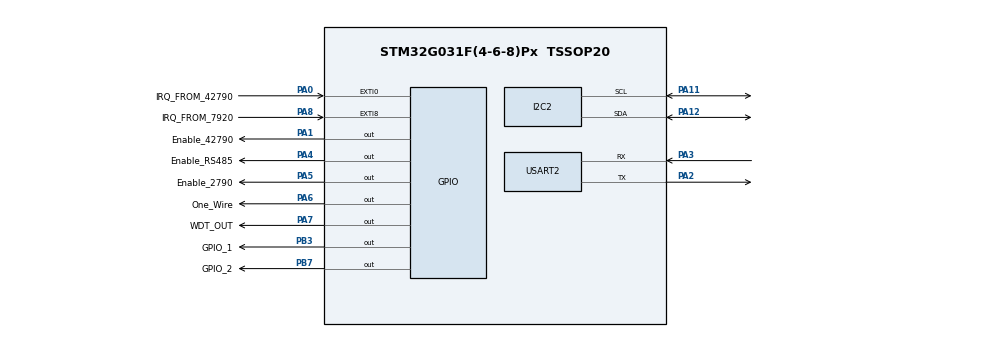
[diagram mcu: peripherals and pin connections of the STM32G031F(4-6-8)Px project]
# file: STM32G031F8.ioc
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I2C2.Timing=0x00201D2B
Mcu.Family=STM32G0
Mcu.Name=STM32G031F(4-6-8)Px
Mcu.Package=TSSOP20
NVIC.EXTI0_1_IRQn=true\:0\:0\:false\:false\:true\:true\:true\:true
NVIC.EXTI4_15_IRQn=true\:0\:0\:false\:false\:true\:true\:true\:true
PA0.GPIO_Label=IRQ_FROM_42790
PA0.Signal=GPXTI0
PA1.GPIO_Label=Enable_42790
PA1.Signal=GPIO_Output
PA11\ [PA9].Mode=I2C
PA11\ [PA9].Signal=I2C2_SCL
PA12\ [PA10].Mode=I2C
PA12\ [PA10].Signal=I2C2_SDA
PA13.Mode=Serial_Wire
PA13.Signal=SYS_SWDIO
PA14-BOOT0.Mode=Serial_Wire
PA14-BOOT0.Signal=SYS_SWCLK
PA14-BOOT0__PA15.StandardMode=true
PA2.Mode=Asynchronous
PA2.Signal=USART2_TX
PA3.Mode=Asynchronous
PA3.Signal=USART2_RX
PA4.GPIO_Label=Enable_RS485
PA4.Signal=GPIO_Output
PA5.GPIO_Label=Enable_2790
PA5.Signal=GPIO_Output
PA6.GPIO_Label=One_Wire
PA6.Signal=GPIO_Output
PA7.GPIO_Label=WDT_OUT
PA7.Signal=GPIO_Output
PA8.GPIO_Label=IRQ_FROM_7920
PA8.Signal=GPXTI8
PB0__PB1__PB2__PA8.StandardMode=true
PB3.GPIO_Label=GPIO_1
PB3.Signal=GPIO_Output
PB3__PB4__PB5__PB6.StandardMode=true
PB7.GPIO_Label=GPIO_2
PB7.Signal=GPIO_Output
PB7__PB8.StandardMode=true
PC14-OSC32_IN\ (PC14).Mode=LSE-External-Oscillator
PC14-OSC32_IN\ (PC14).Signal=RCC_OSC32_IN
PC14-OSC32_IN\ (PC14)__PB9.StandardMode=true
PC15-OSC32_OUT\ (PC15).Mode=LSE-External-Oscillator
PC15-OSC32_OUT\ (PC15).Signal=RCC_OSC32_OUT
ProjectManager.HeapSize=0x200
ProjectManager.StackSize=0x400
ProjectManager.TargetToolchain=STM32CubeIDE
RCC.ADCFreq_Value=16000000
RCC.AHBFreq_Value=16000000
RCC.APB1CLKDivider=RCC_HCLK_DIV2
RCC.CortexFreq_Value=16000000
RCC.EXTERNAL_CLOCK_VALUE=12288000
RCC.HCLKFreq_Value=16000000
RCC.HSE_VALUE=8000000
RCC.HSI_VALUE=16000000
RCC.SYSCLKFreq_VALUE=16000000
RCC.VCOOutputFreq_Value=128000000
USART2.SwapParam=ADVFEATURE_SWAP_ENABLE
USART2.VirtualMode-Asynchronous=VM_ASYNC
board=custom

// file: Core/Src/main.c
/* USER CODE BEGIN Header */
/**
  ******************************************************************************
  * @file           : main.c
  * @brief          : Main program body
  ******************************************************************************
  * @attention
  *
  * Copyright (c) 2025 STMicroelectronics.
  * All rights reserved.
  *
  * This software is licensed under terms that can be found in the LICENSE file
  * in the root directory of this software component.
  * If no LICENSE file comes with this software, it is provided AS-IS.
  *
  ******************************************************************************
  */
/* USER CODE END Header */
#include "main.h"
#include "i2c.h"
#include "usart.h"
#include "gpio.h"

/* USER CODE BEGIN Includes */
#include <assert.h>
#include <stdio.h>
#include <stdlib.h>
#include <time.h>
char data_from_Desktop[8 * 16];
uint8_t synhroByte[4]; // Если приходит команда ~`~` это запись EEPROM - отправляем такой же ответ и затем получаем данные
/* USER CODE END Includes */

/* USER CODE BEGIN PV */
#define CRC_TABLE_SIZE 256
uint8_t _CRC8Table[CRC_TABLE_SIZE];
uint32_t _poly_width = 8;

/* USER CODE END PV */

void SystemClock_Config(void);

/* USER CODE BEGIN 0 */

void HAL_GPIO_EXTI_Callback(uint16_t GPIO_Pin)
{
  if(GPIO_Pin == IRQ_FROM_7920_EXTI_IRQn)
  {
    printf("\r\n========== xALERT ===========\r\n");
  } else
  {
      printf("\r\nEXTI ERROR\r\n");
  }
}

/* USER CODE END 0 */

int main(void)
{

  /* USER CODE BEGIN 1 */
// CRC   https://www.sunshine2k.de/articles/coding/crc/understanding_crc.html
    SEGGER_RTT_Init();
    SEGGER_RTT_printf(0, "SEGGER RTT Initialized\n");

  /* USER CODE END 1 */

  /* MCU Configuration--------------------------------------------------------*/

  /* Reset of all peripherals, Initializes the Flash interface and the Systick. */
  HAL_Init();

  /* Configure the system clock */
  SystemClock_Config();

  /* Initialize all configured peripherals */
  MX_GPIO_Init();
  MX_USART2_UART_Init();
  MX_I2C2_Init();
  /* USER CODE BEGIN 2 */

//  init_Print_to_RS485();
  init_2790();
  init_42790();

  /* USER CODE END 2 */

  /* Infinite loop */
  /* USER CODE BEGIN WHILE */
#if 0
Пишутся регистры 4000 4001 4002 4100
Для записи групп Fuel Gauge Settings Fuel Gauge Model
(0x1000 - 0x1806) (0x2000 - 0x2043) подать команду CONFIG_MODE_CMD();

#endif
//    simpleTestI2C_EEPROM(0x00);

//    read_2790_REGS();
//    read_42790_REGS();

//    test_write_42790();
uint count = 0;
  while (1)
  {
      read_K_from_EEPROM();
      send_CMD_print();
      HAL_Delay(1000);
      printf("\r\n");
      read_Temp();
      read_U_I();
      get_U_PACK_TOP();

      RST_CMD();
      CONFIG_RST_CMD();
      send_U_from_2790_to_42790();
      send_I_from_2790_to_42790();
      EXE_CMD();
      HAL_Delay(100);
      get_empty_soc_cells();
      get_empty_RTIME();
      get_full_soc_cells();
//      HAL_Delay(5000);
      count = 0;

      printf("\r\nEEPROM read:\r\n\n");
      HAL_GPIO_WritePin(GPIOA, Enable_RS485_Pin, GPIO_PIN_SET);
      for(int i=0; i<16; i++)
      {
          while (HAL_I2C_GetState(&hi2c2) != HAL_I2C_STATE_READY);
          HAL_I2C_Mem_Read(&hi2c2, EEPROM_I2C_ADDRESS, i * 8, I2C_MEMADD_SIZE_8BIT, (uint8_t *)&data_from_Desktop + i * 8, 8, HAL_MAX_DELAY);
          HAL_UART_Transmit(&huart2, (uint8_t *)&data_from_Desktop + i * 8, 8, 0xFFFF);
          HAL_UART_Transmit(&huart2, "\r\n", 2, 0xFFFF);
      }
      HAL_GPIO_WritePin(GPIOA, Enable_RS485_Pin, GPIO_PIN_RESET);

      while (receive_Data_to_EEPROM_from_Desktop() != 1)
      {
          HAL_Delay(1);
          ++count;
          if(count == 500)
          {
              break;
          }
      }
      if(count != 500)
      {
          write_Data_to_EEPROM();
      }

    /* USER CODE END WHILE */

  }
}

void SystemClock_Config(void)
{
  /* HSI configuration and activation */
  LL_RCC_HSI_Enable();
  while(LL_RCC_HSI_IsReady() != 1)
  {
  }

  /* Set AHB prescaler*/
  LL_RCC_SetAHBPrescaler(LL_RCC_SYSCLK_DIV_1);

  /* Sysclk activation on the HSI */
  LL_RCC_SetSysClkSource(LL_RCC_SYS_CLKSOURCE_HSI);
  while(LL_RCC_GetSysClkSource() != LL_RCC_SYS_CLKSOURCE_STATUS_HSI)
  {
  }

  /* Set APB1 prescaler*/
  LL_RCC_SetAPB1Prescaler(LL_RCC_APB1_DIV_2);
  /* Update CMSIS variable (which can be updated also through SystemCoreClockUpdate function) */
  LL_SetSystemCoreClock(16000000);

   /* Update the time base */
  if (HAL_InitTick (TICK_INT_PRIORITY) != HAL_OK)
  {
    Error_Handler();
  }
}

/* USER CODE BEGIN 4 */

const char *bit_rep[16] =
{
    [ 0] = "0000", [ 1] = "0001", [ 2] = "0010", [ 3] = "0011",
    [ 4] = "0100", [ 5] = "0101", [ 6] = "0110", [ 7] = "0111",
    [ 8] = "1000", [ 9] = "1001", [10] = "1010", [11] = "1011",
    [12] = "1100", [13] = "1101", [14] = "1110", [15] = "1111",
};
void print_byte(uint8_t byte)
{
    printf("%s%s", bit_rep[byte >> 4], bit_rep[byte & 0x0F]);
}
void simpleTestI2C_EEPROM(uint16_t addr)
{
// Пишет по 8 байт в адреса кратные 8 Читать может больше
    uint16_t num = 8;
    printf("Simple test I2C_EEPROM ...\r\n");

    uint8_t rd_value[20] = {0};
    uint8_t wr_value[20] = {'1','2','3','4','5','6','7','8'};
//    uint8_t wr_value[20] = {'=','=','=','1','2','=','=','='};

    while (HAL_I2C_GetState(&hi2c2) != HAL_I2C_STATE_READY);
    HAL_I2C_Mem_Read(&hi2c2, EEPROM_I2C_ADDRESS, addr, I2C_MEMADD_SIZE_8BIT, rd_value, num, HAL_MAX_DELAY);
    printf("EEPROM read: %s\r\n",rd_value);

    while (HAL_I2C_GetState(&hi2c2) != HAL_I2C_STATE_READY);
    HAL_I2C_Mem_Write(&hi2c2, EEPROM_I2C_ADDRESS, addr, I2C_MEMADD_SIZE_8BIT, wr_value, num, HAL_MAX_DELAY);
    printf("EEPROM write: %s\r\n", wr_value);

    while (HAL_I2C_GetState(&hi2c2) != HAL_I2C_STATE_READY);
    HAL_I2C_Mem_Read(&hi2c2, EEPROM_I2C_ADDRESS, addr, I2C_MEMADD_SIZE_8BIT, rd_value, num, HAL_MAX_DELAY);
    printf("EEPROM read: %s\r\n",rd_value);
}
uint32_t crc32 (uint16_t Reg_Address, uint8_t len, uint8_t *data)
{
    short i;
    uint32_t crc = 0xFFFFFFFF;
    unsigned char dataTemp[4];
    for (i=-1; i<len; i++)
    {
        if(i==-1)
        {
            dataTemp[0]=len;
            dataTemp[1]=Reg_Address&0x00FF;
            dataTemp[2]=(Reg_Address&0xFF00)>>8;
            dataTemp[3]=0;
        }
        else
        {
            dataTemp[i%4]=data[i];
        }
        if((i%4)==3 || i == len-1 || i == -1)
        {
            for (char j=0; j<4; j++)
            {
                crc ^= dataTemp[3-j] << 24;
                for (char k = 0; k < 8; ++k)
                {
                    if ((crc & 0x80000000) != 0)
                    {
                        crc = (crc << 1) ^ 0x04C11DB7;
                    }
                    else
                    {
                        crc <<= 1;
                    }
                }
            }
            dataTemp[0]=0;
            dataTemp[1]=0;
            dataTemp[2]=0;
            dataTemp[3]=0;
        }
    }
    return crc;
}
void init_crc_calculation()
{
    uint8_t poly = 0x31;
    const uint32_t bits_mask = (1 << _poly_width) - 1;
    const uint32_t top_bit = 1 << (_poly_width - 1);
    uint32_t index;
    for (index = 0; index < CRC_TABLE_SIZE; ++index)
    {
        uint32_t value = index << (_poly_width - 8);
        uint32_t bit_index;
        for (bit_index = 0; bit_index < 8; ++bit_index)
        {
            if (value & top_bit)
            {
                value = (value << 1) ^ poly;
            }
            else
            {
                value = value << 1;
            }
            value &= bits_mask;
        }//END for (bit_index = 0; bit_index < 8; ++bit_index)
        _CRC8Table[index] = value;
    }//END for (index = 0; index < CRC_TABLE_SIZE; ++index)
}
uint8_t crc_calc(uint8_t *data, uint8_t size)
{
    uint8_t init_value = 0xFF;
    uint8_t crc = init_value;
    while (size--)
    {
        crc = _CRC8Table[crc ^ *data++];
    }
    return crc;
}
void generateRandomString(char *str, int length)
{
    const char charset[] = "abcdefghijklmnopqrstuvwxyzABCDEFGHIJKLMNOPQRSTUVWXYZ0123456789";
    int charset_size = strlen(charset);
    if (length <= 0)
    {
        str[0] = '\0'; // Empty string for length 0 or less
        return;
    }
    for (int i = 0; i < length; i++)
    {
        str[i] = charset[rand() % charset_size];
    }
    str[length] = '\0'; // Null-terminate the string
}
void Printf(const char* fmt, ...)
{
    HAL_GPIO_WritePin(GPIOA, Enable_RS485_Pin, GPIO_PIN_SET);
    char buff[512];
    va_list args;
    va_start(args, fmt);
    vsnprintf(buff, sizeof(buff), fmt, args);
    HAL_UART_Transmit(&huart2, (uint8_t*)buff, strlen(buff), HAL_MAX_DELAY );
    va_end(args);
    HAL_GPIO_WritePin(GPIOA, Enable_RS485_Pin, GPIO_PIN_RESET);
}
int _write(int fd, char *str, int len)
{
    HAL_GPIO_WritePin(GPIOA, Enable_RS485_Pin, GPIO_PIN_SET);
    for(int i=0; i<len; i++)
    {
        HAL_UART_Transmit(&huart2, (uint8_t *)&str[i], 1, 0xFFFF);
        SEGGER_RTT_PutChar(0, str[i]);
    }
    HAL_GPIO_WritePin(GPIOA, Enable_RS485_Pin, GPIO_PIN_RESET);
    return len;
}

void init_Print_to_RS485()
{
    HAL_GPIO_WritePin(GPIOA, Enable_RS485_Pin, GPIO_PIN_SET);
}

void send_CMD_print()
{
    printf("send CMD print - @#@#\r\n");
}

void write_Data_to_EEPROM()
{
    HAL_UART_Receive(&huart2, (uint8_t *)data_from_Desktop, 8 * 16, 1000);

    printf("============== write EEPROM ===============\r\n\n");
    HAL_Delay(10);
    HAL_GPIO_WritePin(GPIOA, Enable_RS485_Pin, GPIO_PIN_SET);
    for(int i=0; i<16; i++)
    {
        while (HAL_I2C_GetState(&hi2c2) != HAL_I2C_STATE_READY);
        HAL_I2C_Mem_Write(&hi2c2, EEPROM_I2C_ADDRESS, i * 8, I2C_MEMADD_SIZE_8BIT, (uint8_t *)&data_from_Desktop + i * 8, 8, HAL_MAX_DELAY);
        HAL_Delay(100);
        HAL_UART_Transmit(&huart2, (uint8_t *)&data_from_Desktop + i * 8, 8, 0xFFFF);
        HAL_UART_Transmit(&huart2, "\r\n", 2, 0xFFFF);
    }
    HAL_UART_Transmit(&huart2, "\r\n", 2, 0xFFFF);
    HAL_GPIO_WritePin(GPIOA, Enable_RS485_Pin, GPIO_PIN_RESET);
    HAL_Delay(3000);

}
_Bool receive_Data_to_EEPROM_from_Desktop()
{
    if(HAL_UART_Receive(&huart2, synhroByte, 1, 10) == HAL_OK)
    {
        if (synhroByte[0] == '~')
        {
            if(HAL_UART_Receive(&huart2, synhroByte + 1, 1, 10) == HAL_OK)
            {
                if (synhroByte[1] == '`')
                {
                    if(HAL_UART_Receive(&huart2, synhroByte + 2, 1, 10) == HAL_OK)
                    {
                        if (synhroByte[2] == '~')
                        {
                            if(HAL_UART_Receive(&huart2, synhroByte + 3, 1, 10) == HAL_OK)
                            {
                                if (synhroByte[3] == '`')
                                {
                                    return 1;
                                }
                            }
                        }
                    }
                }
            }
        }
    }
    return 0;
}

/* USER CODE END 4 */

void Error_Handler(void)
{
  __disable_irq();
  while (1)
  {
  }
}
